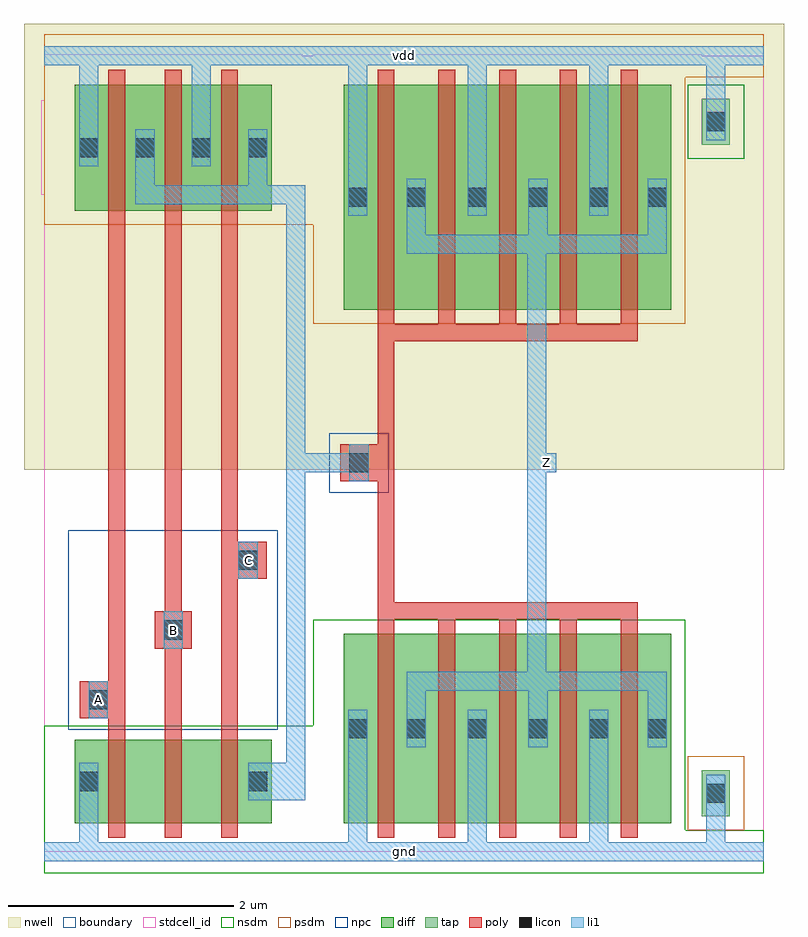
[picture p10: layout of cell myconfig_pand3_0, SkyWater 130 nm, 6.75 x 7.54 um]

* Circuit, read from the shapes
.subckt myconfig_pand3_0 A B C Z gnd vdd
XM1 myconfig_pnand3_0/myconfig_nmos_m1_w0_740_sli_dactive_3/D A gnd gnd sky130_fd_pr__nfet_01v8 w=0.74 l=0.15
XM2 myconfig_pnand3_0/myconfig_nmos_m1_w0_740_sactive_dactive_4/D B myconfig_pnand3_0/myconfig_nmos_m1_w0_740_sli_dactive_3/D gnd sky130_fd_pr__nfet_01v8 w=0.74 l=0.15
XM3 myconfig_pdriver_3_1/A C myconfig_pnand3_0/myconfig_nmos_m1_w0_740_sactive_dactive_4/D gnd sky130_fd_pr__nfet_01v8 w=0.74 l=0.15
XM4 Z myconfig_pdriver_3_1/A gnd gnd sky130_fd_pr__nfet_01v8 w=1.68 l=0.15 m=5
XM5 myconfig_pdriver_3_1/A A vdd vdd sky130_fd_pr__pfet_01v8 w=1.12 l=0.15
XM6 vdd B myconfig_pdriver_3_1/A vdd sky130_fd_pr__pfet_01v8 w=1.12 l=0.15
XM7 myconfig_pdriver_3_1/A C vdd vdd sky130_fd_pr__pfet_01v8 w=1.12 l=0.15
XM8 Z myconfig_pdriver_3_1/A vdd vdd sky130_fd_pr__pfet_01v8 w=2 l=0.15 m=5
.ends

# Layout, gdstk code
import gdstk
lib = gdstk.Library(unit=1e-6, precision=1e-09)
def R(c, l, rs):  # rectangles x0, y0, x1, y1
    for r in rs: c.add(gdstk.rectangle(r[:2], r[2:], *l))
def A(c, l, x, y, w, h, nx, ny, dx, dy):  # array of equal rectangles
    R(c, l, [(x+i*dx, y+j*dy, x+i*dx+w, y+j*dy+h) for i in range(nx) for j in range(ny)])
nwell = (64, 20)
diff = (65, 20)
tap = (65, 44)
poly = (66, 20)
licon = (66, 44)
li1 = (67, 20)
stdcell_id = (81, 4)
nsdm = (93, 44)
psdm = (94, 20)
npc = (95, 20)
boundary = (235, 4)

myconfig_contact_11 = lib.new_cell('myconfig_contact_11')
R(myconfig_contact_11, nwell, [(-0.295,-0.255,0.545,0.585)])
R(myconfig_contact_11, diff, [(0,0.02,0.25,0.31)])
R(myconfig_contact_11, licon, [(0.04,0.08,0.21,0.25)])
R(myconfig_contact_11, li1, [(0.04,0,0.21,0.33)])
R(myconfig_contact_11, stdcell_id, [(-0.295,-0.255,0.545,0.585)])
R(myconfig_contact_11, psdm, [(-0.125,-0.105,0.375,0.435)])
R(myconfig_contact_11, boundary, [(-0.295,-0.255,0.545,0.585)])

myconfig_pmos_m1_w1_120_ = lib.new_cell('myconfig_pmos_m1_w1_120_sli_dli')
R(myconfig_pmos_m1_w1_120_, nwell, [(-0.27,-0.27,1.02,1.39)])
R(myconfig_pmos_m1_w1_120_, diff, [(0,0,0.75,1.12)])
R(myconfig_pmos_m1_w1_120_, poly, [(0.3,-0.13,0.45,1.25), (0.3,-0.13,0.45,1.25)])
R(myconfig_pmos_m1_w1_120_, li1, [(0.04,0.395,0.21,0.725), (0.54,0.395,0.71,0.725)])
R(myconfig_pmos_m1_w1_120_, stdcell_id, [(-0.27,-0.27,1.02,1.39)])
R(myconfig_pmos_m1_w1_120_, psdm, [(-0.125,-0.125,0.875,1.245)])
R(myconfig_pmos_m1_w1_120_, boundary, [(-0.27,-0.27,1.02,1.39)])
myconfig_pmos_m1_w1_120_.add(gdstk.Reference(myconfig_contact_11, (0,0.395)))
myconfig_pmos_m1_w1_120_.add(gdstk.Reference(myconfig_contact_11, (0.5,0.395)))
myconfig_pmos_m1_w1_120_.add(gdstk.Label('G', (0.375,0.56), layer=66, texttype=5))
myconfig_pmos_m1_w1_120_.add(gdstk.Label('S', (0.125,0.56), layer=67, texttype=5))
myconfig_pmos_m1_w1_120_.add(gdstk.Label('D', (0.625,0.56), layer=67, texttype=5))

myconfig_contact_10 = lib.new_cell('myconfig_contact_10')
R(myconfig_contact_10, diff, [(0,0.02,0.25,0.31)])
R(myconfig_contact_10, licon, [(0.04,0.08,0.21,0.25)])
R(myconfig_contact_10, li1, [(0.04,0,0.21,0.33)])
R(myconfig_contact_10, stdcell_id, [(-0.125,-0.105,0.375,0.435)])
R(myconfig_contact_10, nsdm, [(-0.125,-0.105,0.375,0.435)])
R(myconfig_contact_10, boundary, [(-0.125,-0.105,0.375,0.435)])

myconfig_nmos_m1_w0_740_ = lib.new_cell('myconfig_nmos_m1_w0_740_sli_dactive')
R(myconfig_nmos_m1_w0_740_, diff, [(0,0,0.75,0.74), (0.55,0.295,0.7,0.445)])
R(myconfig_nmos_m1_w0_740_, poly, [(0.3,-0.13,0.45,0.87), (0.3,-0.13,0.45,0.87)])
R(myconfig_nmos_m1_w0_740_, li1, [(0.04,0.205,0.21,0.535)])
R(myconfig_nmos_m1_w0_740_, stdcell_id, [(-0.125,-0.13,0.875,0.87)])
R(myconfig_nmos_m1_w0_740_, nsdm, [(-0.125,-0.125,0.875,0.865)])
R(myconfig_nmos_m1_w0_740_, boundary, [(-0.125,-0.13,0.875,0.87)])
myconfig_nmos_m1_w0_740_.add(gdstk.Reference(myconfig_contact_10, (0,0.205)))
myconfig_nmos_m1_w0_740_.add(gdstk.Label('G', (0.375,0.37), layer=66, texttype=5))
myconfig_nmos_m1_w0_740_.add(gdstk.Label('S', (0.125,0.37), layer=67, texttype=5))
myconfig_nmos_m1_w0_740_.add(gdstk.Label('D', (0.625,0.37), layer=65, texttype=5))

c_myconfig_nmos_m1_w0_740_ = lib.new_cell('myconfig_nmos_m1_w0_740_sactive_dactive')
R(c_myconfig_nmos_m1_w0_740_, diff, [(0,0,0.75,0.74), (0.05,0.295,0.2,0.445), (0.55,0.295,0.7,0.445)])
R(c_myconfig_nmos_m1_w0_740_, poly, [(0.3,-0.13,0.45,0.87), (0.3,-0.13,0.45,0.87)])
R(c_myconfig_nmos_m1_w0_740_, stdcell_id, [(-0.125,-0.13,0.875,0.87)])
R(c_myconfig_nmos_m1_w0_740_, nsdm, [(-0.125,-0.125,0.875,0.865)])
R(c_myconfig_nmos_m1_w0_740_, boundary, [(-0.125,-0.13,0.875,0.87)])
c_myconfig_nmos_m1_w0_740_.add(gdstk.Label('G', (0.375,0.37), layer=66, texttype=5))
c_myconfig_nmos_m1_w0_740_.add(gdstk.Label('S', (0.125,0.37), layer=65, texttype=5))
c_myconfig_nmos_m1_w0_740_.add(gdstk.Label('D', (0.625,0.37), layer=65, texttype=5))

c_myconfig_nmos_m1_w0_740__ = lib.new_cell('myconfig_nmos_m1_w0_740_sactive_dli')
R(c_myconfig_nmos_m1_w0_740__, diff, [(0,0,0.75,0.74), (0.05,0.295,0.2,0.445)])
R(c_myconfig_nmos_m1_w0_740__, poly, [(0.3,-0.13,0.45,0.87), (0.3,-0.13,0.45,0.87)])
R(c_myconfig_nmos_m1_w0_740__, li1, [(0.54,0.205,0.71,0.535)])
R(c_myconfig_nmos_m1_w0_740__, stdcell_id, [(-0.125,-0.13,0.875,0.87)])
R(c_myconfig_nmos_m1_w0_740__, nsdm, [(-0.125,-0.125,0.875,0.865)])
R(c_myconfig_nmos_m1_w0_740__, boundary, [(-0.125,-0.13,0.875,0.87)])
c_myconfig_nmos_m1_w0_740__.add(gdstk.Reference(myconfig_contact_10, (0.5,0.205)))
c_myconfig_nmos_m1_w0_740__.add(gdstk.Label('G', (0.375,0.37), layer=66, texttype=5))
c_myconfig_nmos_m1_w0_740__.add(gdstk.Label('S', (0.125,0.37), layer=65, texttype=5))
c_myconfig_nmos_m1_w0_740__.add(gdstk.Label('D', (0.625,0.37), layer=67, texttype=5))

myconfig_contact_15 = lib.new_cell('myconfig_contact_15')
R(myconfig_contact_15, poly, [(0,0,0.33,0.33)])
R(myconfig_contact_15, licon, [(0.08,0.08,0.25,0.25)])
R(myconfig_contact_15, li1, [(0.08,0,0.25,0.33)])
R(myconfig_contact_15, stdcell_id, [(-0.1,-0.1,0.43,0.43)])
R(myconfig_contact_15, npc, [(-0.1,-0.1,0.43,0.43)])
R(myconfig_contact_15, boundary, [(-0.1,-0.1,0.43,0.43)])

myconfig_pnand3 = lib.new_cell('myconfig_pnand3')
R(myconfig_pnand3, nwell, [(-0.18,3.395,2.57,7.355)])
A(myconfig_pnand3, poly, 0.57, 1.125, 0.15, 4.44, 3, 1, 0.5, 0)
R(myconfig_pnand3, poly, [(0.48,1.185,0.57,1.515), (1.07,1.805,1.145,2.135), (1.57,2.425,1.81,2.755)])
R(myconfig_pnand3, li1, [(0,-0.085,2.39,0.085), (0.31,-0.085,0.48,0.46), (1.895,0.46,2.235,0.79), (2.15,0.46,2.32,5.835), (0.395,1.185,0.565,1.515), (1.06,1.805,1.23,2.135), (1.725,2.425,1.895,2.755), (0.81,5.75,0.98,5.92), (0.895,5.75,2.235,5.92), (1.81,5.75,1.98,5.92), (1.895,5.75,2.235,5.92), (2.15,5.75,2.32,5.92), (0.81,5.835,0.98,6.255), (1.81,5.835,1.98,6.255), (0.31,6.09,0.48,7.155), (1.31,6.09,1.48,7.155), (0,6.985,2.39,7.155)])
R(myconfig_pnand3, stdcell_id, [(0,0,2.39,7.07), (0,0,2.39,7.07)])
R(myconfig_pnand3, nsdm, [(0,-0.19,2.39,0.19), (0,0,2.39,1.12)])
R(myconfig_pnand3, psdm, [(0,5.57,2.39,7.07), (0,6.88,2.39,7.26)])
R(myconfig_pnand3, npc, [(0.215,1.085,2.075,2.855)])
R(myconfig_pnand3, boundary, [(0,0,2.39,7.07), (0,0,2.39,7.07)])
myconfig_pnand3.add(gdstk.Reference(myconfig_pmos_m1_w1_120_, (0.27,5.695)))
myconfig_pnand3.add(gdstk.Reference(myconfig_pmos_m1_w1_120_, (0.77,5.695)))
myconfig_pnand3.add(gdstk.Reference(myconfig_pmos_m1_w1_120_, (1.27,5.695)))
myconfig_pnand3.add(gdstk.Reference(myconfig_nmos_m1_w0_740_, (0.27,0.255)))
myconfig_pnand3.add(gdstk.Reference(c_myconfig_nmos_m1_w0_740_, (0.77,0.255)))
myconfig_pnand3.add(gdstk.Reference(c_myconfig_nmos_m1_w0_740__, (1.27,0.255)))
myconfig_pnand3.add(gdstk.Reference(myconfig_contact_15, (0.315,1.185)))
myconfig_pnand3.add(gdstk.Reference(myconfig_contact_15, (0.98,1.805)))
myconfig_pnand3.add(gdstk.Reference(myconfig_contact_15, (1.645,2.425)))
myconfig_pnand3.add(gdstk.Label('A', (0.48,1.35), layer=67, texttype=5))
myconfig_pnand3.add(gdstk.Label('B', (1.145,1.97), layer=67, texttype=5))
myconfig_pnand3.add(gdstk.Label('C', (1.81,2.59), layer=67, texttype=5))
myconfig_pnand3.add(gdstk.Label('Z', (2.235,5.835), layer=67, texttype=5))
myconfig_pnand3.add(gdstk.Label('gnd', (1.195,0), layer=67, texttype=5))
myconfig_pnand3.add(gdstk.Label('vdd', (1.195,7.07), layer=67, texttype=5))

myconfig_pmos_m5_w2_000_ = lib.new_cell('myconfig_pmos_m5_w2_000_sli_dli_da_p')
R(myconfig_pmos_m5_w2_000_, nwell, [(-0.27,-0.27,3.18,2.27)])
R(myconfig_pmos_m5_w2_000_, diff, [(0,0,2.91,2)])
A(myconfig_pmos_m5_w2_000_, poly, 0.3, -0.13, 0.15, 2.26, 5, 1, 0.54, 0)
R(myconfig_pmos_m5_w2_000_, poly, [(0.3,-0.28,2.61,-0.13)])
R(myconfig_pmos_m5_w2_000_, li1, [(0.56,0.495,2.87,0.665), (0.56,0.58,0.73,1), (1.64,0.58,1.81,1), (2.7,0.58,2.87,1), (0.04,0.835,0.21,1.165), (1.1,0.835,1.27,1.165), (2.18,0.835,2.35,1.165)])
R(myconfig_pmos_m5_w2_000_, stdcell_id, [(-0.27,-0.28,3.18,2.27)])
R(myconfig_pmos_m5_w2_000_, psdm, [(-0.125,-0.125,3.035,2.125)])
R(myconfig_pmos_m5_w2_000_, boundary, [(-0.27,-0.28,3.18,2.27)])
myconfig_pmos_m5_w2_000_.add(gdstk.Reference(myconfig_contact_11, (0,0.835)))
myconfig_pmos_m5_w2_000_.add(gdstk.Reference(myconfig_contact_11, (0.52,0.835)))
myconfig_pmos_m5_w2_000_.add(gdstk.Reference(myconfig_contact_11, (1.06,0.835)))
myconfig_pmos_m5_w2_000_.add(gdstk.Reference(myconfig_contact_11, (1.6,0.835)))
myconfig_pmos_m5_w2_000_.add(gdstk.Reference(myconfig_contact_11, (2.14,0.835)))
myconfig_pmos_m5_w2_000_.add(gdstk.Reference(myconfig_contact_11, (2.66,0.835)))
myconfig_pmos_m5_w2_000_.add(gdstk.Label('G', (1.455,-0.205), layer=66, texttype=5))
myconfig_pmos_m5_w2_000_.add(gdstk.Label('S', (0.125,1), layer=67, texttype=5))
myconfig_pmos_m5_w2_000_.add(gdstk.Label('S', (2.265,1), layer=67, texttype=5))
myconfig_pmos_m5_w2_000_.add(gdstk.Label('S', (1.185,1), layer=67, texttype=5))
myconfig_pmos_m5_w2_000_.add(gdstk.Label('D', (1.715,0.58), layer=67, texttype=5))

myconfig_nmos_m5_w1_680_ = lib.new_cell('myconfig_nmos_m5_w1_680_sli_dli_da_p')
R(myconfig_nmos_m5_w1_680_, diff, [(0,0,2.91,1.68)])
A(myconfig_nmos_m5_w1_680_, poly, 0.3, -0.13, 0.15, 1.94, 5, 1, 0.54, 0)
R(myconfig_nmos_m5_w1_680_, poly, [(0.3,1.81,2.61,1.96)])
R(myconfig_nmos_m5_w1_680_, li1, [(0.04,0.675,0.21,1.005), (1.1,0.675,1.27,1.005), (2.18,0.675,2.35,1.005), (0.56,0.84,0.73,1.26), (1.64,0.84,1.81,1.26), (2.7,0.84,2.87,1.26), (0.56,1.175,2.87,1.345)])
R(myconfig_nmos_m5_w1_680_, stdcell_id, [(-0.125,-0.13,3.035,1.96)])
R(myconfig_nmos_m5_w1_680_, nsdm, [(-0.125,-0.125,3.035,1.805)])
R(myconfig_nmos_m5_w1_680_, boundary, [(-0.125,-0.13,3.035,1.96)])
myconfig_nmos_m5_w1_680_.add(gdstk.Reference(myconfig_contact_10, (0,0.675)))
myconfig_nmos_m5_w1_680_.add(gdstk.Reference(myconfig_contact_10, (0.52,0.675)))
myconfig_nmos_m5_w1_680_.add(gdstk.Reference(myconfig_contact_10, (1.06,0.675)))
myconfig_nmos_m5_w1_680_.add(gdstk.Reference(myconfig_contact_10, (1.6,0.675)))
myconfig_nmos_m5_w1_680_.add(gdstk.Reference(myconfig_contact_10, (2.14,0.675)))
myconfig_nmos_m5_w1_680_.add(gdstk.Reference(myconfig_contact_10, (2.66,0.675)))
myconfig_nmos_m5_w1_680_.add(gdstk.Label('G', (1.455,1.885), layer=66, texttype=5))
myconfig_nmos_m5_w1_680_.add(gdstk.Label('S', (0.125,0.84), layer=67, texttype=5))
myconfig_nmos_m5_w1_680_.add(gdstk.Label('S', (1.185,0.84), layer=67, texttype=5))
myconfig_nmos_m5_w1_680_.add(gdstk.Label('S', (2.265,0.84), layer=67, texttype=5))
myconfig_nmos_m5_w1_680_.add(gdstk.Label('D', (1.715,1.26), layer=67, texttype=5))

myconfig_contact_28 = lib.new_cell('myconfig_contact_28')
R(myconfig_contact_28, nwell, [(-0.295,-0.215,0.545,0.625)])
R(myconfig_contact_28, tap, [(0,0,0.25,0.41)])
R(myconfig_contact_28, licon, [(0.04,0.12,0.21,0.29)])
R(myconfig_contact_28, li1, [(0.04,0.04,0.21,0.37)])
R(myconfig_contact_28, stdcell_id, [(-0.295,-0.215,0.545,0.625)])
R(myconfig_contact_28, nsdm, [(-0.125,-0.125,0.375,0.535)])
R(myconfig_contact_28, boundary, [(-0.295,-0.215,0.545,0.625)])

myconfig_contact_29 = lib.new_cell('myconfig_contact_29')
R(myconfig_contact_29, tap, [(0,0,0.25,0.41)])
R(myconfig_contact_29, licon, [(0.04,0.12,0.21,0.29)])
R(myconfig_contact_29, li1, [(0.04,0.04,0.21,0.37)])
R(myconfig_contact_29, stdcell_id, [(-0.125,-0.125,0.375,0.535)])
R(myconfig_contact_29, psdm, [(-0.125,-0.125,0.375,0.535)])
R(myconfig_contact_29, boundary, [(-0.125,-0.125,0.375,0.535)])

myconfig_pinv_9 = lib.new_cell('myconfig_pinv_9')
R(myconfig_pinv_9, nwell, [(-0.18,3.395,4.18,7.355)])
R(myconfig_pinv_9, poly, [(0.57,2.215,0.72,4.535), (0.405,3.29,0.57,3.62)])
R(myconfig_pinv_9, li1, [(0,-0.085,4,0.085), (0.31,-0.085,0.48,0.93), (1.37,-0.085,1.54,0.93), (2.45,-0.085,2.62,0.93), (3.49,0,3.66,0.52), (1.9,1.43,2.07,5.48), (0.32,3.29,0.49,3.62), (1.985,3.37,2.155,3.54), (0.31,5.65,0.48,7.155), (1.37,5.65,1.54,7.155), (2.45,5.65,2.62,7.155), (3.49,6.485,3.66,7.07), (0,6.985,4,7.155)])
R(myconfig_pinv_9, stdcell_id, [(0,0,4,7.07), (0,0,4,7.07)])
R(myconfig_pinv_9, nsdm, [(0,-0.19,4,0.19), (0,0,3.305,2.06)])
R(myconfig_pinv_9, psdm, [(0,4.69,3.305,7.07), (0,6.88,4,7.26)])
R(myconfig_pinv_9, boundary, [(0,0,4,7.07), (0,0,4,7.07)])
myconfig_pinv_9.add(gdstk.Reference(myconfig_pmos_m5_w2_000_, (0.27,4.815)))
myconfig_pinv_9.add(gdstk.Reference(myconfig_nmos_m5_w1_680_, (0.27,0.255)))
myconfig_pinv_9.add(gdstk.Reference(myconfig_contact_28, (3.45,6.28)))
myconfig_pinv_9.add(gdstk.Reference(myconfig_contact_29, (3.45,0.315)))
myconfig_pinv_9.add(gdstk.Reference(myconfig_contact_15, (0.24,3.29)))
myconfig_pinv_9.add(gdstk.Label('A', (0.405,3.455), layer=67, texttype=5))
myconfig_pinv_9.add(gdstk.Label('Z', (2.07,3.455), layer=67, texttype=5))
myconfig_pinv_9.add(gdstk.Label('gnd', (2,0), layer=67, texttype=5))
myconfig_pinv_9.add(gdstk.Label('vdd', (2,7.07), layer=67, texttype=5))

myconfig_pdriver_3 = lib.new_cell('myconfig_pdriver_3')
R(myconfig_pdriver_3, nwell, [(-0.18,3.395,4.18,7.355)])
R(myconfig_pdriver_3, li1, [(0,-0.085,4,0.085), (0.32,3.29,0.49,3.62), (1.985,3.37,2.155,3.54), (0,6.985,4,7.155)])
R(myconfig_pdriver_3, stdcell_id, [(0,0,4,7.07), (0,0,4,7.07)])
R(myconfig_pdriver_3, nsdm, [(0,-0.19,4,0.19)])
R(myconfig_pdriver_3, psdm, [(0,6.88,4,7.26)])
R(myconfig_pdriver_3, boundary, [(0,0,4,7.07), (0,0,4,7.07)])
myconfig_pdriver_3.add(gdstk.Reference(myconfig_pinv_9, (0,0)))
myconfig_pdriver_3.add(gdstk.Label('Z', (2.07,3.455), layer=67, texttype=5))
myconfig_pdriver_3.add(gdstk.Label('A', (0.405,3.455), layer=67, texttype=5))
myconfig_pdriver_3.add(gdstk.Label('gnd', (2,0), layer=67, texttype=5))
myconfig_pdriver_3.add(gdstk.Label('vdd', (2,7.07), layer=67, texttype=5))

myconfig_pand3_0 = lib.new_cell('myconfig_pand3_0')
R(myconfig_pand3_0, li1, [(0,-0.085,6.39,0.085), (0.395,1.185,0.565,1.515), (1.06,1.805,1.23,2.135), (1.725,2.425,1.895,2.755), (2.15,3.37,2.32,3.54), (2.235,3.37,2.795,3.54), (4.375,3.37,4.545,3.54), (2.15,3.455,2.32,5.835), (0,6.985,6.39,7.155)])
R(myconfig_pand3_0, stdcell_id, [(0,0,6.39,7.07), (0,0,6.39,7.07)])
R(myconfig_pand3_0, boundary, [(0,0,6.39,7.07), (0,0,6.39,7.07)])
myconfig_pand3_0.add(gdstk.Reference(myconfig_pnand3, (0,0)))
myconfig_pand3_0.add(gdstk.Reference(myconfig_pdriver_3, (2.39,0)))
myconfig_pand3_0.add(gdstk.Label('Z', (4.46,3.455), layer=67, texttype=5))
myconfig_pand3_0.add(gdstk.Label('A', (0.48,1.35), layer=67, texttype=5))
myconfig_pand3_0.add(gdstk.Label('B', (1.145,1.97), layer=67, texttype=5))
myconfig_pand3_0.add(gdstk.Label('C', (1.81,2.59), layer=67, texttype=5))
myconfig_pand3_0.add(gdstk.Label('gnd', (3.195,0), layer=67, texttype=5))
myconfig_pand3_0.add(gdstk.Label('vdd', (3.195,7.07), layer=67, texttype=5))

lib.write_gds('myconfig_pand3_0.gds')
